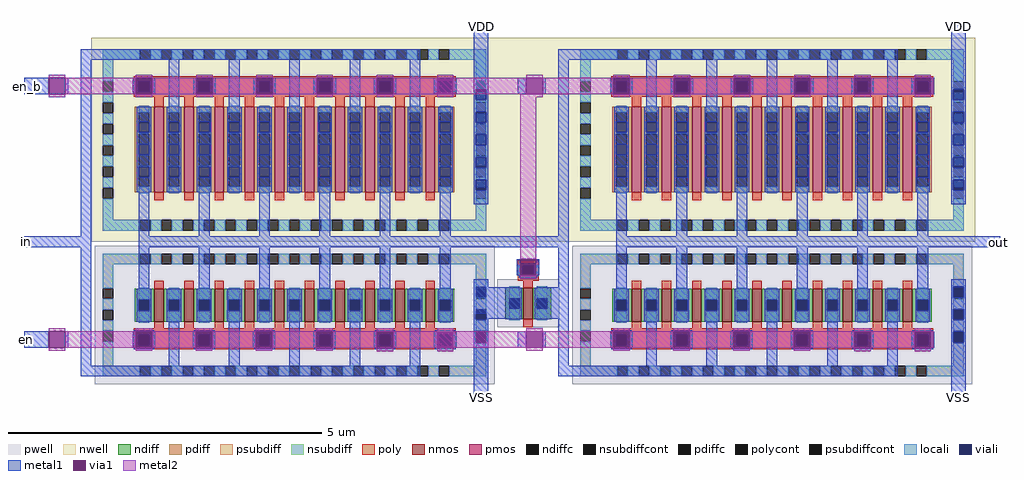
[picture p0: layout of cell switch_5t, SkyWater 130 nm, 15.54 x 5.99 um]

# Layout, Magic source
magic
tech sky130A
magscale 1 2
<< nwell >>
rect 1427 468 1802 1118
<< metal1 >>
rect 1380 1072 1426 1162
rect 2901 1072 2947 1159
rect -53 938 -1 990
rect -53 451 93 485
rect 1456 451 1652 485
rect 2985 451 3056 485
rect 1517 361 1527 413
rect 1579 361 1589 413
rect 1380 239 1526 323
rect 1580 239 1683 323
rect 1421 223 1526 239
rect 1603 223 1665 239
rect -53 131 -1 183
rect 1380 -36 1426 50
rect 2901 -35 2947 101
<< via1 >>
rect 1527 361 1579 413
<< metal2 >>
rect 1262 938 1726 990
rect 1527 413 1579 938
rect 1527 351 1579 361
rect 1263 131 1663 183
use sky130_fd_pr__nfet_01v8_E56BNL  sky130_fd_pr__nfet_01v8_E56BNL_0
transform 1 0 1553 0 1 312
box -99 -116 99 98
use transmission_gate  transmission_gate_0
transform 1 0 215 0 1 55
box -216 -51 1283 1063
use transmission_gate  transmission_gate_1
transform 1 0 1736 0 1 55
box -216 -51 1283 1063
<< labels >>
flabel metal1 s 1403 1153 1403 1153 1 FreeSans 500 0 0 0 VDD
port 1 nsew
flabel metal1 s 1403 -29 1403 -29 1 FreeSans 500 0 0 0 VSS
port 2 nsew
flabel metal1 s -43 963 -43 963 1 FreeSans 500 0 0 0 en_b
port 3 nsew
flabel metal1 s -45 157 -45 157 1 FreeSans 500 0 0 0 en
port 4 nsew
flabel metal1 s -44 468 -44 468 1 FreeSans 500 0 0 0 in
port 5 nsew
flabel metal1 s 3051 467 3051 467 7 FreeSans 500 0 0 0 out
port 6 nsew
flabel metal1 s 2924 1154 2924 1154 1 FreeSans 500 0 0 0 VDD
port 1 nsew
flabel metal1 s 2924 -28 2924 -28 1 FreeSans 500 0 0 0 VSS
port 2 nsew
<< end >>

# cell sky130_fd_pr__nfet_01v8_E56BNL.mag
magic
tech sky130A
magscale 1 2
<< pwell >>
rect -99 -116 99 36
<< nmos >>
rect -15 -90 15 10
<< ndiff >>
rect -73 -23 -15 10
rect -73 -57 -61 -23
rect -27 -57 -15 -23
rect -73 -90 -15 -57
rect 15 -23 73 10
rect 15 -57 27 -23
rect 61 -57 73 -23
rect 15 -90 73 -57
<< ndiffc >>
rect -61 -57 -27 -23
rect 27 -57 61 -23
<< poly >>
rect -33 82 33 98
rect -33 48 -17 82
rect 17 48 33 82
rect -33 32 33 48
rect -15 10 15 32
rect -15 -116 15 -90
<< polycont >>
rect -17 48 17 82
<< locali >>
rect -33 48 -17 82
rect 17 48 33 82
rect -61 -23 -27 14
rect -61 -94 -27 -57
rect 27 -23 61 14
rect 27 -94 61 -57
<< viali >>
rect -17 48 17 82
rect -61 -57 -27 -23
rect 27 -57 61 -23
<< metal1 >>
rect -29 82 29 88
rect -29 48 -17 82
rect 17 48 29 82
rect -29 42 29 48
rect -67 -23 -21 10
rect -67 -57 -61 -23
rect -27 -57 -21 -23
rect -67 -90 -21 -57
rect 21 -23 67 10
rect 21 -57 27 -23
rect 61 -57 67 -23
rect 21 -90 67 -57
<< end >>

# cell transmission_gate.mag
magic
tech sky130A
magscale 1 2
<< locali >>
rect 1171 899 1205 931
rect 1171 827 1205 865
rect 1171 755 1205 793
rect 1171 683 1205 721
rect 1171 611 1205 649
rect 1171 545 1205 577
rect 1171 270 1205 281
rect 1171 198 1205 236
rect 1171 126 1205 164
rect 1171 81 1205 92
<< viali >>
rect 1171 865 1205 899
rect 1171 793 1205 827
rect 1171 721 1205 755
rect 1171 649 1205 683
rect 1171 577 1205 611
rect 1171 236 1205 270
rect 1171 164 1205 198
rect 1171 92 1205 126
<< metal1 >>
rect -87 993 995 1027
rect -216 883 -189 935
rect -137 883 -127 935
rect -87 430 -53 993
rect 78 883 88 935
rect 140 883 150 935
rect 193 832 227 993
rect 271 883 281 935
rect 333 883 343 935
rect 385 832 419 993
rect 462 883 472 935
rect 524 883 534 935
rect 577 832 611 993
rect 654 883 664 935
rect 716 883 726 935
rect 769 832 803 993
rect 846 883 856 935
rect 908 883 918 935
rect 961 832 995 993
rect 1038 883 1048 935
rect 1100 883 1110 935
rect 1165 899 1211 1063
rect 1165 865 1171 899
rect 1205 865 1211 899
rect 1165 827 1211 865
rect 1165 793 1171 827
rect 1205 793 1211 827
rect 1165 755 1211 793
rect 1165 721 1171 755
rect 1205 721 1211 755
rect 1165 683 1211 721
rect 1165 649 1171 683
rect 1205 649 1211 683
rect 1165 611 1211 649
rect -216 396 -53 430
rect -216 76 -189 128
rect -137 76 -127 128
rect -87 19 -53 396
rect 97 430 131 608
rect 289 430 323 608
rect 481 430 515 608
rect 673 430 707 608
rect 865 430 899 608
rect 1057 430 1091 608
rect 1165 577 1171 611
rect 1205 577 1211 611
rect 1165 533 1211 577
rect 97 396 1283 430
rect 97 253 131 396
rect 289 253 323 396
rect 481 253 515 396
rect 673 253 707 396
rect 865 253 899 396
rect 1057 253 1091 396
rect 1165 270 1211 293
rect 1165 236 1171 270
rect 1205 236 1211 270
rect 1165 198 1211 236
rect 78 76 88 128
rect 140 76 150 128
rect 193 19 227 180
rect 269 76 279 128
rect 331 76 341 128
rect 385 19 419 180
rect 461 76 471 128
rect 523 76 533 128
rect 577 19 611 180
rect 653 76 663 128
rect 715 76 725 128
rect 769 19 803 180
rect 846 75 856 127
rect 908 75 918 127
rect 961 19 995 180
rect 1165 164 1171 198
rect 1205 164 1211 198
rect 1038 75 1048 127
rect 1100 75 1110 127
rect 1165 126 1211 164
rect 1165 92 1171 126
rect 1205 92 1211 126
rect -87 -15 995 19
rect 1165 -51 1211 92
<< via1 >>
rect -189 883 -137 935
rect 88 883 140 935
rect 281 883 333 935
rect 472 883 524 935
rect 664 883 716 935
rect 856 883 908 935
rect 1048 883 1100 935
rect -189 76 -137 128
rect 88 76 140 128
rect 279 76 331 128
rect 471 76 523 128
rect 663 76 715 128
rect 856 75 908 127
rect 1048 75 1100 127
<< metal2 >>
rect -189 935 -137 945
rect 88 935 140 945
rect 281 935 333 945
rect 472 935 524 945
rect 664 935 716 945
rect 856 935 908 945
rect 1048 935 1100 945
rect -137 883 88 935
rect 140 883 281 935
rect 333 883 472 935
rect 524 883 664 935
rect 716 883 856 935
rect 908 883 1048 935
rect 1100 883 1107 935
rect -189 873 -137 883
rect 88 873 140 883
rect 281 873 333 883
rect 472 873 524 883
rect 664 873 716 883
rect 856 873 908 883
rect 1048 873 1100 883
rect -189 128 -137 138
rect 88 128 140 138
rect 279 128 331 138
rect 471 128 523 138
rect 663 128 715 138
rect 856 128 908 137
rect 1048 128 1100 137
rect -137 76 88 128
rect 140 76 279 128
rect 331 76 471 128
rect 523 76 663 128
rect 715 127 1107 128
rect 715 76 856 127
rect -189 66 -137 76
rect 88 66 140 76
rect 279 66 331 76
rect 471 66 523 76
rect 663 66 715 76
rect 908 76 1048 127
rect 856 65 908 75
rect 1100 76 1107 127
rect 1048 65 1100 75
use sky130_fd_pr__nfet_01v8_6J4AMR  sky130_fd_pr__nfet_01v8_6J4AMR_0
transform 1 0 593 0 1 211
box -636 -252 638 190
use sky130_fd_pr__pfet_01v8_UNG2NQ  sky130_fd_pr__pfet_01v8_UNG2NQ_0
transform -1 0 595 0 -1 707
box -646 -356 648 294
<< labels >>
flabel metal1 s -211 909 -211 909 3 FreeSans 500 0 0 0 en_b
port 1 nsew
flabel metal1 s -212 413 -212 413 3 FreeSans 500 0 0 0 in
port 2 nsew
flabel metal1 s -212 102 -212 102 3 FreeSans 500 0 0 0 en
port 3 nsew
flabel metal1 s 1279 412 1279 412 7 FreeSans 500 0 0 0 out
port 4 nsew
flabel metal1 s 1188 1058 1188 1058 5 FreeSans 500 0 0 0 VDD
port 5 nsew
flabel metal1 s 1188 -48 1188 -48 1 FreeSans 500 0 0 0 VSS
port 6 nsew
<< end >>

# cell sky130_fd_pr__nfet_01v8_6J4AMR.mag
magic
tech sky130A
magscale 1 2
<< pwell >>
rect -636 -252 638 190
<< nmos >>
rect -446 -52 -416 52
rect -350 -52 -320 52
rect -254 -52 -224 52
rect -158 -52 -128 52
rect -62 -52 -32 52
rect 34 -52 64 52
rect 130 -52 160 52
rect 226 -52 256 52
rect 322 -52 352 52
rect 418 -52 448 52
<< ndiff >>
rect -508 17 -446 52
rect -508 -17 -496 17
rect -462 -17 -446 17
rect -508 -52 -446 -17
rect -416 17 -350 52
rect -416 -17 -400 17
rect -366 -17 -350 17
rect -416 -52 -350 -17
rect -320 17 -254 52
rect -320 -17 -304 17
rect -270 -17 -254 17
rect -320 -52 -254 -17
rect -224 17 -158 52
rect -224 -17 -208 17
rect -174 -17 -158 17
rect -224 -52 -158 -17
rect -128 17 -62 52
rect -128 -17 -112 17
rect -78 -17 -62 17
rect -128 -52 -62 -17
rect -32 17 34 52
rect -32 -17 -16 17
rect 18 -17 34 17
rect -32 -52 34 -17
rect 64 17 130 52
rect 64 -17 80 17
rect 114 -17 130 17
rect 64 -52 130 -17
rect 160 17 226 52
rect 160 -17 176 17
rect 210 -17 226 17
rect 160 -52 226 -17
rect 256 17 322 52
rect 256 -17 272 17
rect 306 -17 322 17
rect 256 -52 322 -17
rect 352 17 418 52
rect 352 -17 368 17
rect 402 -17 418 17
rect 352 -52 418 -17
rect 448 17 510 52
rect 448 -17 464 17
rect 498 -17 510 17
rect 448 -52 510 -17
<< ndiffc >>
rect -496 -17 -462 17
rect -400 -17 -366 17
rect -304 -17 -270 17
rect -208 -17 -174 17
rect -112 -17 -78 17
rect -16 -17 18 17
rect 80 -17 114 17
rect 176 -17 210 17
rect 272 -17 306 17
rect 368 -17 402 17
rect 464 -17 498 17
<< psubdiff >>
rect -610 130 -492 164
rect -458 130 -424 164
rect -390 130 -356 164
rect -322 130 -288 164
rect -254 130 -220 164
rect -186 130 -152 164
rect -118 130 -84 164
rect -50 130 -16 164
rect 18 130 52 164
rect 86 130 120 164
rect 154 130 188 164
rect 222 130 256 164
rect 290 130 324 164
rect 358 130 392 164
rect 426 130 460 164
rect 494 130 612 164
rect -610 54 -576 130
rect 578 54 612 130
rect -610 -14 -576 20
rect -610 -82 -576 -48
rect 578 -14 612 20
rect -610 -192 -576 -116
rect 578 -82 612 -48
rect 578 -192 612 -116
rect -610 -226 -492 -192
rect -458 -226 -424 -192
rect -390 -226 -356 -192
rect -322 -226 -288 -192
rect -254 -226 -220 -192
rect -186 -226 -152 -192
rect -118 -226 -84 -192
rect -50 -226 -16 -192
rect 18 -226 52 -192
rect 86 -226 120 -192
rect 154 -226 188 -192
rect 222 -226 256 -192
rect 290 -226 324 -192
rect 358 -226 392 -192
rect 426 -226 460 -192
rect 494 -226 612 -192
<< psubdiffcont >>
rect -492 130 -458 164
rect -424 130 -390 164
rect -356 130 -322 164
rect -288 130 -254 164
rect -220 130 -186 164
rect -152 130 -118 164
rect -84 130 -50 164
rect -16 130 18 164
rect 52 130 86 164
rect 120 130 154 164
rect 188 130 222 164
rect 256 130 290 164
rect 324 130 358 164
rect 392 130 426 164
rect 460 130 494 164
rect -610 20 -576 54
rect -610 -48 -576 -14
rect 578 20 612 54
rect 578 -48 612 -14
rect -610 -116 -576 -82
rect 578 -116 612 -82
rect -492 -226 -458 -192
rect -424 -226 -390 -192
rect -356 -226 -322 -192
rect -288 -226 -254 -192
rect -220 -226 -186 -192
rect -152 -226 -118 -192
rect -84 -226 -50 -192
rect -16 -226 18 -192
rect 52 -226 86 -192
rect 120 -226 154 -192
rect 188 -226 222 -192
rect 256 -226 290 -192
rect 324 -226 358 -192
rect 392 -226 426 -192
rect 460 -226 494 -192
<< poly >>
rect -446 52 -416 78
rect -350 52 -320 78
rect -254 52 -224 78
rect -158 52 -128 78
rect -62 52 -32 78
rect 34 52 64 78
rect 130 52 160 78
rect 226 52 256 78
rect 322 52 352 78
rect 418 52 448 78
rect -446 -74 -416 -52
rect -350 -74 -320 -52
rect -254 -74 -224 -52
rect -158 -74 -128 -52
rect -62 -74 -32 -52
rect 34 -74 64 -52
rect 130 -74 160 -52
rect 226 -74 256 -52
rect 322 -74 352 -52
rect 418 -74 448 -52
rect -512 -94 514 -74
rect -512 -128 -496 -94
rect -462 -128 -304 -94
rect -270 -128 -112 -94
rect -78 -128 80 -94
rect 114 -128 272 -94
rect 306 -128 464 -94
rect 498 -128 514 -94
rect -512 -140 514 -128
<< polycont >>
rect -496 -128 -462 -94
rect -304 -128 -270 -94
rect -112 -128 -78 -94
rect 80 -128 114 -94
rect 272 -128 306 -94
rect 464 -128 498 -94
<< locali >>
rect -610 130 -492 164
rect -458 130 -424 164
rect -390 130 -356 164
rect -322 130 -288 164
rect -254 130 -220 164
rect -186 130 -152 164
rect -118 130 -84 164
rect -50 130 -16 164
rect 18 130 52 164
rect 86 130 120 164
rect 154 130 188 164
rect 222 130 256 164
rect 290 130 324 164
rect 358 130 392 164
rect 426 130 460 164
rect 494 130 612 164
rect -610 54 -576 130
rect -610 -14 -576 20
rect -610 -82 -576 -48
rect -496 17 -462 56
rect -496 -56 -462 -17
rect -400 17 -366 56
rect -400 -56 -366 -17
rect -304 17 -270 56
rect -304 -56 -270 -17
rect -208 17 -174 56
rect -208 -56 -174 -17
rect -112 17 -78 56
rect -112 -56 -78 -17
rect -16 17 18 56
rect -16 -56 18 -17
rect 80 17 114 56
rect 80 -56 114 -17
rect 176 17 210 56
rect 176 -56 210 -17
rect 272 17 306 56
rect 272 -56 306 -17
rect 368 17 402 56
rect 368 -56 402 -17
rect 464 17 498 56
rect 464 -56 498 -17
rect 578 54 612 130
rect 578 -14 612 20
rect 578 -82 612 -48
rect -610 -192 -576 -116
rect -512 -128 -496 -94
rect -462 -128 -446 -94
rect -320 -128 -304 -94
rect -270 -128 -254 -94
rect -128 -128 -112 -94
rect -78 -128 -62 -94
rect 64 -128 80 -94
rect 114 -128 130 -94
rect 256 -128 272 -94
rect 306 -128 322 -94
rect 448 -128 464 -94
rect 498 -128 514 -94
rect 578 -192 612 -116
rect -610 -226 -492 -192
rect -458 -226 -424 -192
rect -390 -226 -356 -192
rect -322 -226 -288 -192
rect -254 -226 -220 -192
rect -186 -226 -152 -192
rect -118 -226 -84 -192
rect -50 -226 -16 -192
rect 18 -226 52 -192
rect 86 -226 120 -192
rect 154 -226 188 -192
rect 222 -226 256 -192
rect 290 -226 324 -192
rect 358 -226 392 -192
rect 426 -226 460 -192
rect 494 -226 612 -192
<< viali >>
rect -496 -17 -462 17
rect -400 -17 -366 17
rect -304 -17 -270 17
rect -208 -17 -174 17
rect -112 -17 -78 17
rect -16 -17 18 17
rect 80 -17 114 17
rect 176 -17 210 17
rect 272 -17 306 17
rect 368 -17 402 17
rect 464 -17 498 17
rect -496 -128 -462 -94
rect -304 -128 -270 -94
rect -112 -128 -78 -94
rect 80 -128 114 -94
rect 272 -128 306 -94
rect 464 -128 498 -94
<< metal1 >>
rect -502 17 -456 52
rect -502 -17 -496 17
rect -462 -17 -456 17
rect -502 -52 -456 -17
rect -406 17 -360 52
rect -406 -17 -400 17
rect -366 -17 -360 17
rect -406 -52 -360 -17
rect -310 17 -264 52
rect -310 -17 -304 17
rect -270 -17 -264 17
rect -310 -52 -264 -17
rect -214 17 -168 52
rect -214 -17 -208 17
rect -174 -17 -168 17
rect -214 -52 -168 -17
rect -118 17 -72 52
rect -118 -17 -112 17
rect -78 -17 -72 17
rect -118 -52 -72 -17
rect -22 17 24 52
rect -22 -17 -16 17
rect 18 -17 24 17
rect -22 -52 24 -17
rect 74 17 120 52
rect 74 -17 80 17
rect 114 -17 120 17
rect 74 -52 120 -17
rect 170 17 216 52
rect 170 -17 176 17
rect 210 -17 216 17
rect 170 -52 216 -17
rect 266 17 312 52
rect 266 -17 272 17
rect 306 -17 312 17
rect 266 -52 312 -17
rect 362 17 408 52
rect 362 -17 368 17
rect 402 -17 408 17
rect 362 -52 408 -17
rect 458 17 504 52
rect 458 -17 464 17
rect 498 -17 504 17
rect 458 -52 504 -17
rect -512 -94 -446 -80
rect -512 -128 -496 -94
rect -462 -128 -446 -94
rect -512 -140 -446 -128
rect -320 -94 -254 -80
rect -320 -128 -304 -94
rect -270 -128 -254 -94
rect -320 -140 -254 -128
rect -128 -94 -62 -80
rect -128 -128 -112 -94
rect -78 -128 -62 -94
rect -128 -140 -62 -128
rect 64 -94 130 -80
rect 64 -128 80 -94
rect 114 -128 130 -94
rect 64 -140 130 -128
rect 256 -94 322 -80
rect 256 -128 272 -94
rect 306 -128 322 -94
rect 256 -140 322 -128
rect 448 -94 514 -80
rect 448 -128 464 -94
rect 498 -128 514 -94
rect 448 -140 514 -128
<< properties >>
string FIXED_BBOX -594 -210 594 210
<< end >>

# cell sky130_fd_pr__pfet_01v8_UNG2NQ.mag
magic
tech sky130A
magscale 1 2
<< nwell >>
rect -646 -356 648 294
<< pmos >>
rect -446 -136 -416 136
rect -350 -136 -320 136
rect -254 -136 -224 136
rect -158 -136 -128 136
rect -62 -136 -32 136
rect 34 -136 64 136
rect 130 -136 160 136
rect 226 -136 256 136
rect 322 -136 352 136
rect 418 -136 448 136
<< pdiff >>
rect -508 119 -446 136
rect -508 85 -496 119
rect -462 85 -446 119
rect -508 51 -446 85
rect -508 17 -496 51
rect -462 17 -446 51
rect -508 -17 -446 17
rect -508 -51 -496 -17
rect -462 -51 -446 -17
rect -508 -85 -446 -51
rect -508 -119 -496 -85
rect -462 -119 -446 -85
rect -508 -136 -446 -119
rect -416 119 -350 136
rect -416 85 -400 119
rect -366 85 -350 119
rect -416 51 -350 85
rect -416 17 -400 51
rect -366 17 -350 51
rect -416 -17 -350 17
rect -416 -51 -400 -17
rect -366 -51 -350 -17
rect -416 -85 -350 -51
rect -416 -119 -400 -85
rect -366 -119 -350 -85
rect -416 -136 -350 -119
rect -320 119 -254 136
rect -320 85 -304 119
rect -270 85 -254 119
rect -320 51 -254 85
rect -320 17 -304 51
rect -270 17 -254 51
rect -320 -17 -254 17
rect -320 -51 -304 -17
rect -270 -51 -254 -17
rect -320 -85 -254 -51
rect -320 -119 -304 -85
rect -270 -119 -254 -85
rect -320 -136 -254 -119
rect -224 119 -158 136
rect -224 85 -208 119
rect -174 85 -158 119
rect -224 51 -158 85
rect -224 17 -208 51
rect -174 17 -158 51
rect -224 -17 -158 17
rect -224 -51 -208 -17
rect -174 -51 -158 -17
rect -224 -85 -158 -51
rect -224 -119 -208 -85
rect -174 -119 -158 -85
rect -224 -136 -158 -119
rect -128 119 -62 136
rect -128 85 -112 119
rect -78 85 -62 119
rect -128 51 -62 85
rect -128 17 -112 51
rect -78 17 -62 51
rect -128 -17 -62 17
rect -128 -51 -112 -17
rect -78 -51 -62 -17
rect -128 -85 -62 -51
rect -128 -119 -112 -85
rect -78 -119 -62 -85
rect -128 -136 -62 -119
rect -32 119 34 136
rect -32 85 -16 119
rect 18 85 34 119
rect -32 51 34 85
rect -32 17 -16 51
rect 18 17 34 51
rect -32 -17 34 17
rect -32 -51 -16 -17
rect 18 -51 34 -17
rect -32 -85 34 -51
rect -32 -119 -16 -85
rect 18 -119 34 -85
rect -32 -136 34 -119
rect 64 119 130 136
rect 64 85 80 119
rect 114 85 130 119
rect 64 51 130 85
rect 64 17 80 51
rect 114 17 130 51
rect 64 -17 130 17
rect 64 -51 80 -17
rect 114 -51 130 -17
rect 64 -85 130 -51
rect 64 -119 80 -85
rect 114 -119 130 -85
rect 64 -136 130 -119
rect 160 119 226 136
rect 160 85 176 119
rect 210 85 226 119
rect 160 51 226 85
rect 160 17 176 51
rect 210 17 226 51
rect 160 -17 226 17
rect 160 -51 176 -17
rect 210 -51 226 -17
rect 160 -85 226 -51
rect 160 -119 176 -85
rect 210 -119 226 -85
rect 160 -136 226 -119
rect 256 119 322 136
rect 256 85 272 119
rect 306 85 322 119
rect 256 51 322 85
rect 256 17 272 51
rect 306 17 322 51
rect 256 -17 322 17
rect 256 -51 272 -17
rect 306 -51 322 -17
rect 256 -85 322 -51
rect 256 -119 272 -85
rect 306 -119 322 -85
rect 256 -136 322 -119
rect 352 119 418 136
rect 352 85 368 119
rect 402 85 418 119
rect 352 51 418 85
rect 352 17 368 51
rect 402 17 418 51
rect 352 -17 418 17
rect 352 -51 368 -17
rect 402 -51 418 -17
rect 352 -85 418 -51
rect 352 -119 368 -85
rect 402 -119 418 -85
rect 352 -136 418 -119
rect 448 119 510 136
rect 448 85 464 119
rect 498 85 510 119
rect 448 51 510 85
rect 448 17 464 51
rect 498 17 510 51
rect 448 -17 510 17
rect 448 -51 464 -17
rect 498 -51 510 -17
rect 448 -85 510 -51
rect 448 -119 464 -85
rect 498 -119 510 -85
rect 448 -136 510 -119
<< pdiffc >>
rect -496 85 -462 119
rect -496 17 -462 51
rect -496 -51 -462 -17
rect -496 -119 -462 -85
rect -400 85 -366 119
rect -400 17 -366 51
rect -400 -51 -366 -17
rect -400 -119 -366 -85
rect -304 85 -270 119
rect -304 17 -270 51
rect -304 -51 -270 -17
rect -304 -119 -270 -85
rect -208 85 -174 119
rect -208 17 -174 51
rect -208 -51 -174 -17
rect -208 -119 -174 -85
rect -112 85 -78 119
rect -112 17 -78 51
rect -112 -51 -78 -17
rect -112 -119 -78 -85
rect -16 85 18 119
rect -16 17 18 51
rect -16 -51 18 -17
rect -16 -119 18 -85
rect 80 85 114 119
rect 80 17 114 51
rect 80 -51 114 -17
rect 80 -119 114 -85
rect 176 85 210 119
rect 176 17 210 51
rect 176 -51 210 -17
rect 176 -119 210 -85
rect 272 85 306 119
rect 272 17 306 51
rect 272 -51 306 -17
rect 272 -119 306 -85
rect 368 85 402 119
rect 368 17 402 51
rect 368 -51 402 -17
rect 368 -119 402 -85
rect 464 85 498 119
rect 464 17 498 51
rect 464 -51 498 -17
rect 464 -119 498 -85
<< nsubdiff >>
rect -610 224 -492 258
rect -458 224 -424 258
rect -390 224 -356 258
rect -322 224 -288 258
rect -254 224 -220 258
rect -186 224 -152 258
rect -118 224 -84 258
rect -50 224 -16 258
rect 18 224 52 258
rect 86 224 120 258
rect 154 224 188 258
rect 222 224 256 258
rect 290 224 324 258
rect 358 224 392 258
rect 426 224 460 258
rect 494 224 612 258
rect -610 156 -576 224
rect 578 156 612 224
rect -610 88 -576 122
rect -610 20 -576 54
rect -610 -48 -576 -14
rect -610 -116 -576 -82
rect 578 88 612 122
rect 578 20 612 54
rect 578 -48 612 -14
rect 578 -116 612 -82
rect -610 -184 -576 -150
rect -610 -286 -576 -218
rect 578 -184 612 -150
rect 578 -286 612 -218
rect -610 -320 -492 -286
rect -458 -320 -424 -286
rect -390 -320 -356 -286
rect -322 -320 -288 -286
rect -254 -320 -220 -286
rect -186 -320 -152 -286
rect -118 -320 -84 -286
rect -50 -320 -16 -286
rect 18 -320 52 -286
rect 86 -320 120 -286
rect 154 -320 188 -286
rect 222 -320 256 -286
rect 290 -320 324 -286
rect 358 -320 392 -286
rect 426 -320 460 -286
rect 494 -320 612 -286
<< nsubdiffcont >>
rect -492 224 -458 258
rect -424 224 -390 258
rect -356 224 -322 258
rect -288 224 -254 258
rect -220 224 -186 258
rect -152 224 -118 258
rect -84 224 -50 258
rect -16 224 18 258
rect 52 224 86 258
rect 120 224 154 258
rect 188 224 222 258
rect 256 224 290 258
rect 324 224 358 258
rect 392 224 426 258
rect 460 224 494 258
rect -610 122 -576 156
rect -610 54 -576 88
rect -610 -14 -576 20
rect -610 -82 -576 -48
rect -610 -150 -576 -116
rect 578 122 612 156
rect 578 54 612 88
rect 578 -14 612 20
rect 578 -82 612 -48
rect 578 -150 612 -116
rect -610 -218 -576 -184
rect 578 -218 612 -184
rect -492 -320 -458 -286
rect -424 -320 -390 -286
rect -356 -320 -322 -286
rect -288 -320 -254 -286
rect -220 -320 -186 -286
rect -152 -320 -118 -286
rect -84 -320 -50 -286
rect -16 -320 18 -286
rect 52 -320 86 -286
rect 120 -320 154 -286
rect 188 -320 222 -286
rect 256 -320 290 -286
rect 324 -320 358 -286
rect 392 -320 426 -286
rect 460 -320 494 -286
<< poly >>
rect -446 136 -416 162
rect -350 136 -320 162
rect -254 136 -224 162
rect -158 136 -128 162
rect -62 136 -32 162
rect 34 136 64 162
rect 130 136 160 162
rect 226 136 256 162
rect 322 136 352 162
rect 418 136 448 162
rect -446 -168 -416 -136
rect -350 -168 -320 -136
rect -254 -168 -224 -136
rect -158 -168 -128 -136
rect -62 -168 -32 -136
rect 34 -168 64 -136
rect 130 -168 160 -136
rect 226 -168 256 -136
rect 322 -168 352 -136
rect 418 -168 448 -136
rect -512 -184 514 -168
rect -512 -218 -496 -184
rect -462 -218 -304 -184
rect -270 -218 -112 -184
rect -78 -218 80 -184
rect 114 -218 272 -184
rect 306 -218 464 -184
rect 498 -218 514 -184
rect -512 -234 514 -218
<< polycont >>
rect -496 -218 -462 -184
rect -304 -218 -270 -184
rect -112 -218 -78 -184
rect 80 -218 114 -184
rect 272 -218 306 -184
rect 464 -218 498 -184
<< locali >>
rect -610 224 -492 258
rect -458 224 -424 258
rect -390 224 -356 258
rect -322 224 -288 258
rect -254 224 -220 258
rect -186 224 -152 258
rect -118 224 -84 258
rect -50 224 -16 258
rect 18 224 52 258
rect 86 224 120 258
rect 154 224 188 258
rect 222 224 256 258
rect 290 224 324 258
rect 358 224 392 258
rect 426 224 460 258
rect 494 224 612 258
rect -610 156 -576 224
rect 578 156 612 224
rect -610 88 -576 122
rect -610 20 -576 54
rect -610 -48 -576 -14
rect -610 -116 -576 -82
rect -496 119 -462 140
rect -496 51 -462 55
rect -496 -55 -462 -51
rect -496 -140 -462 -119
rect -400 119 -366 140
rect -400 51 -366 55
rect -400 -55 -366 -51
rect -400 -140 -366 -119
rect -304 119 -270 140
rect -304 51 -270 55
rect -304 -55 -270 -51
rect -304 -140 -270 -119
rect -208 119 -174 140
rect -208 51 -174 55
rect -208 -55 -174 -51
rect -208 -140 -174 -119
rect -112 119 -78 140
rect -112 51 -78 55
rect -112 -55 -78 -51
rect -112 -140 -78 -119
rect -16 119 18 140
rect -16 51 18 55
rect -16 -55 18 -51
rect -16 -140 18 -119
rect 80 119 114 140
rect 80 51 114 55
rect 80 -55 114 -51
rect 80 -140 114 -119
rect 176 119 210 140
rect 176 51 210 55
rect 176 -55 210 -51
rect 176 -140 210 -119
rect 272 119 306 140
rect 272 51 306 55
rect 272 -55 306 -51
rect 272 -140 306 -119
rect 368 119 402 140
rect 368 51 402 55
rect 368 -55 402 -51
rect 368 -140 402 -119
rect 464 119 498 140
rect 464 51 498 55
rect 464 -55 498 -51
rect 464 -140 498 -119
rect 578 88 612 122
rect 578 20 612 54
rect 578 -48 612 -14
rect 578 -116 612 -82
rect -610 -184 -576 -150
rect 578 -184 612 -150
rect -512 -218 -496 -184
rect -462 -218 -446 -184
rect -320 -218 -304 -184
rect -270 -218 -254 -184
rect -128 -218 -112 -184
rect -78 -218 -62 -184
rect 64 -218 80 -184
rect 114 -218 130 -184
rect 256 -218 272 -184
rect 306 -218 322 -184
rect 448 -218 464 -184
rect 498 -218 514 -184
rect -610 -286 -576 -218
rect 578 -286 612 -218
rect -610 -320 -492 -286
rect -458 -320 -424 -286
rect -390 -320 -356 -286
rect -322 -320 -288 -286
rect -254 -320 -220 -286
rect -186 -320 -152 -286
rect -118 -320 -84 -286
rect -50 -320 -16 -286
rect 18 -320 52 -286
rect 86 -320 120 -286
rect 154 -320 188 -286
rect 222 -320 256 -286
rect 290 -320 324 -286
rect 358 -320 392 -286
rect 426 -320 460 -286
rect 494 -320 612 -286
<< viali >>
rect -496 85 -462 89
rect -496 55 -462 85
rect -496 -17 -462 17
rect -496 -85 -462 -55
rect -496 -89 -462 -85
rect -400 85 -366 89
rect -400 55 -366 85
rect -400 -17 -366 17
rect -400 -85 -366 -55
rect -400 -89 -366 -85
rect -304 85 -270 89
rect -304 55 -270 85
rect -304 -17 -270 17
rect -304 -85 -270 -55
rect -304 -89 -270 -85
rect -208 85 -174 89
rect -208 55 -174 85
rect -208 -17 -174 17
rect -208 -85 -174 -55
rect -208 -89 -174 -85
rect -112 85 -78 89
rect -112 55 -78 85
rect -112 -17 -78 17
rect -112 -85 -78 -55
rect -112 -89 -78 -85
rect -16 85 18 89
rect -16 55 18 85
rect -16 -17 18 17
rect -16 -85 18 -55
rect -16 -89 18 -85
rect 80 85 114 89
rect 80 55 114 85
rect 80 -17 114 17
rect 80 -85 114 -55
rect 80 -89 114 -85
rect 176 85 210 89
rect 176 55 210 85
rect 176 -17 210 17
rect 176 -85 210 -55
rect 176 -89 210 -85
rect 272 85 306 89
rect 272 55 306 85
rect 272 -17 306 17
rect 272 -85 306 -55
rect 272 -89 306 -85
rect 368 85 402 89
rect 368 55 402 85
rect 368 -17 402 17
rect 368 -85 402 -55
rect 368 -89 402 -85
rect 464 85 498 89
rect 464 55 498 85
rect 464 -17 498 17
rect 464 -85 498 -55
rect 464 -89 498 -85
rect -496 -218 -462 -184
rect -304 -218 -270 -184
rect -112 -218 -78 -184
rect 80 -218 114 -184
rect 272 -218 306 -184
rect 464 -218 498 -184
<< metal1 >>
rect -502 89 -456 136
rect -502 55 -496 89
rect -462 55 -456 89
rect -502 17 -456 55
rect -502 -17 -496 17
rect -462 -17 -456 17
rect -502 -55 -456 -17
rect -502 -89 -496 -55
rect -462 -89 -456 -55
rect -502 -136 -456 -89
rect -406 89 -360 136
rect -406 55 -400 89
rect -366 55 -360 89
rect -406 17 -360 55
rect -406 -17 -400 17
rect -366 -17 -360 17
rect -406 -55 -360 -17
rect -406 -89 -400 -55
rect -366 -89 -360 -55
rect -406 -136 -360 -89
rect -310 89 -264 136
rect -310 55 -304 89
rect -270 55 -264 89
rect -310 17 -264 55
rect -310 -17 -304 17
rect -270 -17 -264 17
rect -310 -55 -264 -17
rect -310 -89 -304 -55
rect -270 -89 -264 -55
rect -310 -136 -264 -89
rect -214 89 -168 136
rect -214 55 -208 89
rect -174 55 -168 89
rect -214 17 -168 55
rect -214 -17 -208 17
rect -174 -17 -168 17
rect -214 -55 -168 -17
rect -214 -89 -208 -55
rect -174 -89 -168 -55
rect -214 -136 -168 -89
rect -118 89 -72 136
rect -118 55 -112 89
rect -78 55 -72 89
rect -118 17 -72 55
rect -118 -17 -112 17
rect -78 -17 -72 17
rect -118 -55 -72 -17
rect -118 -89 -112 -55
rect -78 -89 -72 -55
rect -118 -136 -72 -89
rect -22 89 24 136
rect -22 55 -16 89
rect 18 55 24 89
rect -22 17 24 55
rect -22 -17 -16 17
rect 18 -17 24 17
rect -22 -55 24 -17
rect -22 -89 -16 -55
rect 18 -89 24 -55
rect -22 -136 24 -89
rect 74 89 120 136
rect 74 55 80 89
rect 114 55 120 89
rect 74 17 120 55
rect 74 -17 80 17
rect 114 -17 120 17
rect 74 -55 120 -17
rect 74 -89 80 -55
rect 114 -89 120 -55
rect 74 -136 120 -89
rect 170 89 216 136
rect 170 55 176 89
rect 210 55 216 89
rect 170 17 216 55
rect 170 -17 176 17
rect 210 -17 216 17
rect 170 -55 216 -17
rect 170 -89 176 -55
rect 210 -89 216 -55
rect 170 -136 216 -89
rect 266 89 312 136
rect 266 55 272 89
rect 306 55 312 89
rect 266 17 312 55
rect 266 -17 272 17
rect 306 -17 312 17
rect 266 -55 312 -17
rect 266 -89 272 -55
rect 306 -89 312 -55
rect 266 -136 312 -89
rect 362 89 408 136
rect 362 55 368 89
rect 402 55 408 89
rect 362 17 408 55
rect 362 -17 368 17
rect 402 -17 408 17
rect 362 -55 408 -17
rect 362 -89 368 -55
rect 402 -89 408 -55
rect 362 -136 408 -89
rect 458 89 504 136
rect 458 55 464 89
rect 498 55 504 89
rect 458 17 504 55
rect 458 -17 464 17
rect 498 -17 504 17
rect 458 -55 504 -17
rect 458 -89 464 -55
rect 498 -89 504 -55
rect 458 -136 504 -89
rect -512 -184 -446 -176
rect -512 -218 -496 -184
rect -462 -218 -446 -184
rect -512 -226 -446 -218
rect -320 -184 -254 -176
rect -320 -218 -304 -184
rect -270 -218 -254 -184
rect -320 -226 -254 -218
rect -128 -184 -62 -176
rect -128 -218 -112 -184
rect -78 -218 -62 -184
rect -128 -226 -62 -218
rect 64 -184 130 -176
rect 64 -218 80 -184
rect 114 -218 130 -184
rect 64 -226 130 -218
rect 256 -184 322 -176
rect 256 -218 272 -184
rect 306 -218 322 -184
rect 256 -226 322 -218
rect 448 -184 514 -176
rect 448 -218 464 -184
rect 498 -218 514 -184
rect 448 -226 514 -218
<< properties >>
string FIXED_BBOX -594 -302 594 302
<< end >>
